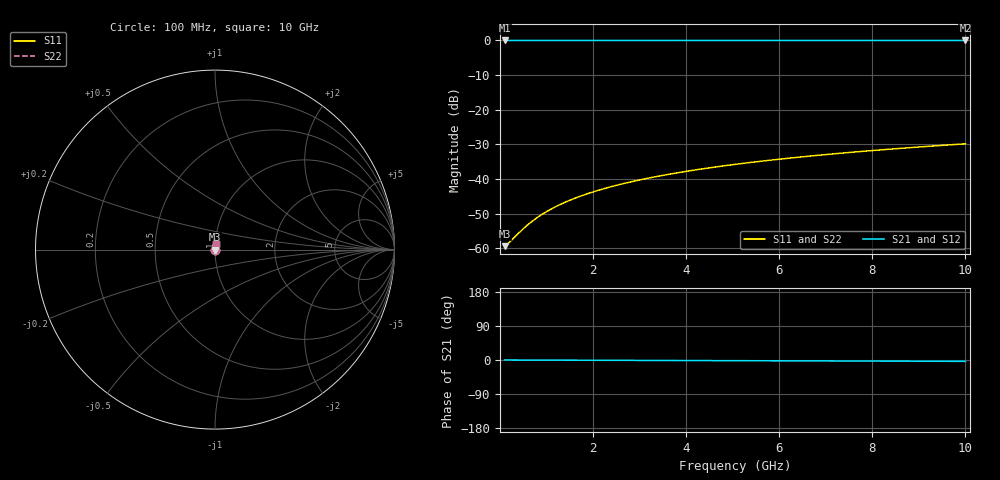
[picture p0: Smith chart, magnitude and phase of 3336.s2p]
# Hz S RI R 50.00
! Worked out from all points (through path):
!   100 points, 100 MHz to 10 GHz, reference 50 ohm
!   highest |S21| = -0.01 dB at 100 MHz (marker M1); lowest = 0.0 dB at 10 GHz (marker M2)
!   lowest |S11| = -59.4 dB at 100 MHz (marker M3), VSWR 1.00, Z = 50.1 + j0.0321 ohm
!   |S11| at or under -10 dB: start of sweep to end of sweep
!   |S22| runs from -59.4 to -29.8 dB; largest |S21 - S12| = 0
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1e8  0.00102 0.00032  0.999 -0.000618  0.999 -0.000618  0.00102 0.00032
2e8  0.00103 0.000641  0.999 -0.00124  0.999 -0.00124  0.00103 0.000641
4e8  0.00104 0.00128  0.999 -0.00247  0.999 -0.00247  0.00104 0.00128
5e8  0.00105 0.0016  0.9989 -0.00309  0.9989 -0.00309  0.00105 0.0016
6e8  0.00105 0.00192  0.9989 -0.00371  0.9989 -0.00371  0.00105 0.00192
7e8  0.00106 0.00224  0.9989 -0.00433  0.9989 -0.00433  0.00106 0.00224
9e8  0.00107 0.00288  0.9989 -0.00556  0.9989 -0.00556  0.00107 0.00288
1.1e9  0.00108 0.00352  0.9989 -0.0068  0.9989 -0.0068  0.00108 0.00352
1.3e9  0.00109 0.00416  0.9989 -0.00803  0.9989 -0.00803  0.00109 0.00416
1.5e9  0.00111 0.0048  0.9989 -0.00927  0.9989 -0.00927  0.00111 0.0048
1.8e9  0.00113 0.00577  0.9988 -0.0111  0.9988 -0.0111  0.00113 0.00577
2.1e9  0.00116 0.00673  0.9988 -0.013  0.9988 -0.013  0.00116 0.00673
2.5e9  0.0012 0.00801  0.9988 -0.0155  0.9988 -0.0155  0.0012 0.00801
2.9e9  0.00125 0.00929  0.9987 -0.0179  0.9987 -0.0179  0.00125 0.00929
3.4e9  0.00132 0.0109  0.9986 -0.021  0.9986 -0.021  0.00132 0.0109
4.2e9  0.00144 0.0135  0.9985 -0.026  0.9985 -0.026  0.00144 0.0135
5.1e9  0.00162 0.0163  0.9983 -0.0315  0.9983 -0.0315  0.00162 0.0163
5.9e9  0.0018 0.0189  0.998 -0.0365  0.998 -0.0365  0.0018 0.0189
6.7e9  0.00201 0.0215  0.9978 -0.0415  0.9978 -0.0415  0.00201 0.0215
7.5e9  0.00224 0.024  0.9975 -0.0464  0.9975 -0.0464  0.00224 0.024
8.4e9  0.00253 0.0269  0.9971 -0.052  0.9971 -0.052  0.00253 0.0269
1e10  0.00314 0.032  0.9964 -0.0619  0.9964 -0.0619  0.00314 0.032
